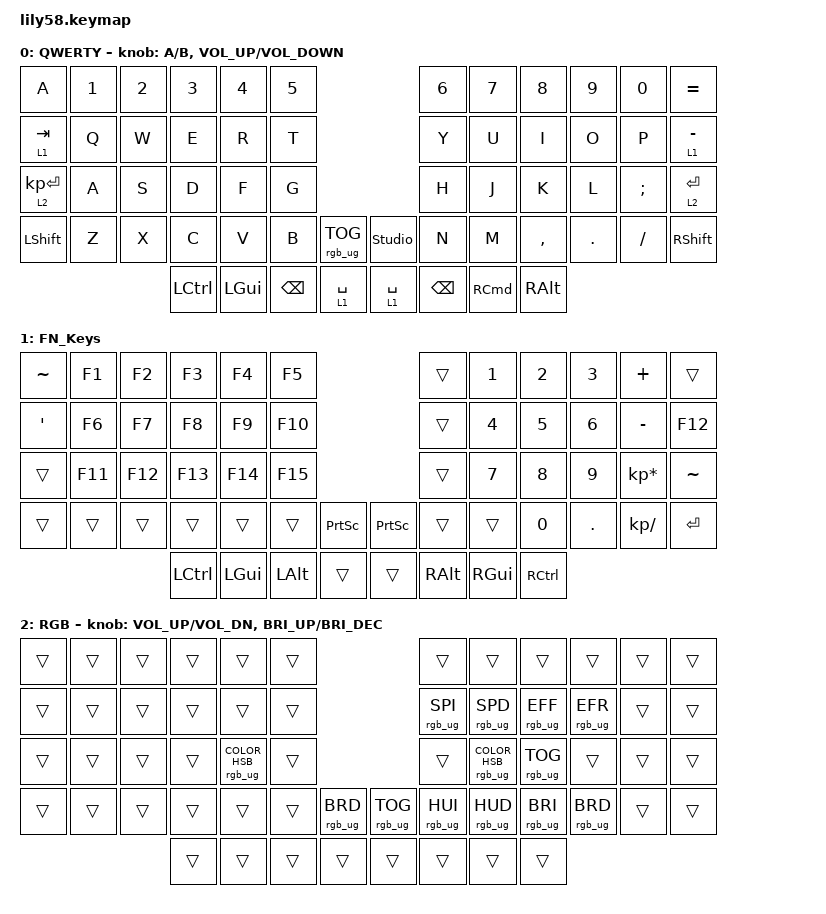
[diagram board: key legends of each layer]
/*
 * Copyright (c) 2020 The ZMK Contributors
 *
 * SPDX-License-Identifier: MIT
 */

#include <behaviors.dtsi>
#include <dt-bindings/zmk/keys.h>
#include <dt-bindings/zmk/rgb.h>

/ {
    // Activate ADJUST layer by pressing raise and lower

    conditional_layers {
        compatible = "zmk,conditional-layers";

        adjust_layer {
            if-layers = <1 2>;
            then-layer = <3>;
        };
    };

    combos {
        compatible = "zmk,combos";

        studio_unlock {
            bindings = <&studio_unlock>;
            key-positions = <40 52>;
        };
    };

    keymap {
        compatible = "zmk,keymap";

        QWERTY {
            // ------------------------------------------------------------------------------------------------------------
            // |  ESC  |  1  |  2  |  3   |  4   |  5   |                   |  6   |  7    |  8    |  9   |   0   |   `   |
            // |  TAB  |  Q  |  W  |  E   |  R   |  T   |                   |  Y   |  U    |  I    |  O   |   P   |   -   |
            // |  CTRL |  A  |  S  |  D   |  F   |  G   |                   |  H   |  J    |  K    |  L   |   ;   |   '   |
            // | SHIFT |  Z  |  X  |  C   |  V   |  B   |  MUTE  |  |RGB_TOG|  N   |  M    |  ,    |  .   |   /   | SHIFT |
            //                     | ALT  | GUI  | LOWER|  SPACE |  | ENTER | RAISE| BSPC  | GUI   |

            bindings = <
&kp A           &kp N1  &kp N2  &kp N3     &kp N4    &kp N5                                            &kp N6         &kp N7             &kp N8         &kp N9   &kp N0    &kp EQUAL
&lt 1 TAB       &kp Q   &kp W   &kp E      &kp R     &kp T                                             &kp Y          &kp U              &kp I          &kp O    &kp P     &lt 1 MINUS
&lt 2 KP_ENTER  &kp A   &kp S   &kp D      &kp F     &kp G                                             &kp H          &kp J              &kp K          &kp L    &kp SEMI  &lt 2 ENTER
&kp LEFT_SHIFT  &kp Z   &kp X   &kp C      &kp V     &kp B          &rgb_ug RGB_TOG    &studio_unlock  &kp N          &kp M              &kp COMMA      &kp DOT  &kp FSLH  &kp RSHFT
                                &kp LCTRL  &kp LGUI  &kp BACKSPACE  &lt 1 SPACE        &lt 1 SPACE     &kp BACKSPACE  &kp RIGHT_COMMAND  &kp RIGHT_ALT
            >;

            sensor-bindings =
                <&inc_dec_kp A B>,
                <&inc_dec_kp K_VOLUME_UP K_VOLUME_DOWN>;

            label = "QWERTY";
        };

        FN_Keys {
            // ------------------------------------------------------------------------------------------------------------
            // | BTCLR | BT1 | BT2 |  BT3 |  BT4 |  BT5 |                   |      |       |       |      |       |       |
            // |  F1   |  F2 |  F3 |  F4  |  F5  |  F6  |                   |  F7  |  F8   |  F9   |  F10 |  F11  |  F12  |
            // |   `   |  !  |  @  |  #   |  $   |  %   |                   |  ^   |  &    |  *    |  (   |   )   |   ~   |
            // |EXTPWR |     |     |      |      |      |        |  |       |      |  _    |  +    |  {   |   }   |  "|"  |
            //                     |      |      |      |        |  |       |      |       |       |

            bindings = <
&kp TILDE  &kp F1   &kp F2   &kp F3            &kp F4        &kp F5                                            &trans         &kp NUMBER_1   &kp NUMBER_2       &kp NUMBER_3  &kp PLUS         &trans
&kp SQT    &kp F6   &kp F7   &kp F8            &kp F9        &kp F10                                           &trans         &kp NUMBER_4   &kp N5             &kp NUMBER_6  &kp MINUS        &kp F12
&trans     &kp F11  &kp F12  &kp F13           &kp F14       &kp F15                                           &trans         &kp N7         &kp N8             &kp N9        &kp KP_ASTERISK  &kp TILDE
&trans     &trans   &trans   &trans            &trans        &trans        &kp PRINTSCREEN    &kp PRINTSCREEN  &trans         &trans         &kp N0             &kp PERIOD    &kp KP_DIVIDE    &kp ENTER
                             &kp LEFT_CONTROL  &kp LEFT_GUI  &kp LEFT_ALT  &trans             &trans           &kp RIGHT_ALT  &kp RIGHT_GUI  &kp RIGHT_CONTROL
            >;

            label = "FN_Keys";
        };

        RGB {
            // ----------------------------------------------------------------------------------------------------------------------------
            // | BTCLR  |  BT1    |  BT2    |   BT3   |   BT4   |   BT5   |                  |      |      |       |      |       |       |
            // | EXTPWR | RGB_HUD | RGB_HUI | RGB_SAD | RGB_SAI | RGB_EFF |                  |      |      |       |      |       |       |
            // |        | RGB_BRD | RGB_BRI |         |         |         |                  |      |      |       |      |       |       |
            // |        |         |         |         |         |         | RGB_TOG | |      |      |      |       |      |       |       |
            //                    |         |         |         |         |         | |      |      |      |       |      |

            bindings = <
&trans  &trans  &trans  &trans  &trans                            &trans                                      &trans           &trans                            &trans           &trans           &trans  &trans
&trans  &trans  &trans  &trans  &trans                            &trans                                      &rgb_ug RGB_SPI  &rgb_ug RGB_SPD                   &rgb_ug RGB_EFF  &rgb_ug RGB_EFR  &trans  &trans
&trans  &trans  &trans  &trans  &rgb_ug RGB_COLOR_HSB(187,58,58)  &trans                                      &trans           &rgb_ug RGB_COLOR_HSB(186,67,47)  &rgb_ug RGB_TOG  &trans           &trans  &trans
&trans  &trans  &trans  &trans  &trans                            &trans  &rgb_ug RGB_BRD    &rgb_ug RGB_TOG  &rgb_ug RGB_HUI  &rgb_ug RGB_HUD                   &rgb_ug RGB_BRI  &rgb_ug RGB_BRD  &trans  &trans
                        &trans  &trans                            &trans  &trans             &trans           &trans           &trans                            &trans
            >;

            sensor-bindings =
                <&inc_dec_kp C_VOL_UP C_VOL_DN>,
                <&inc_dec_kp C_BRI_UP C_BRI_DEC>;

            label = "RGB";
        };

        extra1 { status = "reserved"; };

        extra2 { status = "reserved"; };

        extra3 { status = "reserved"; };

        extra4 { status = "reserved"; };

        extra5 { status = "reserved"; };
    };
};
